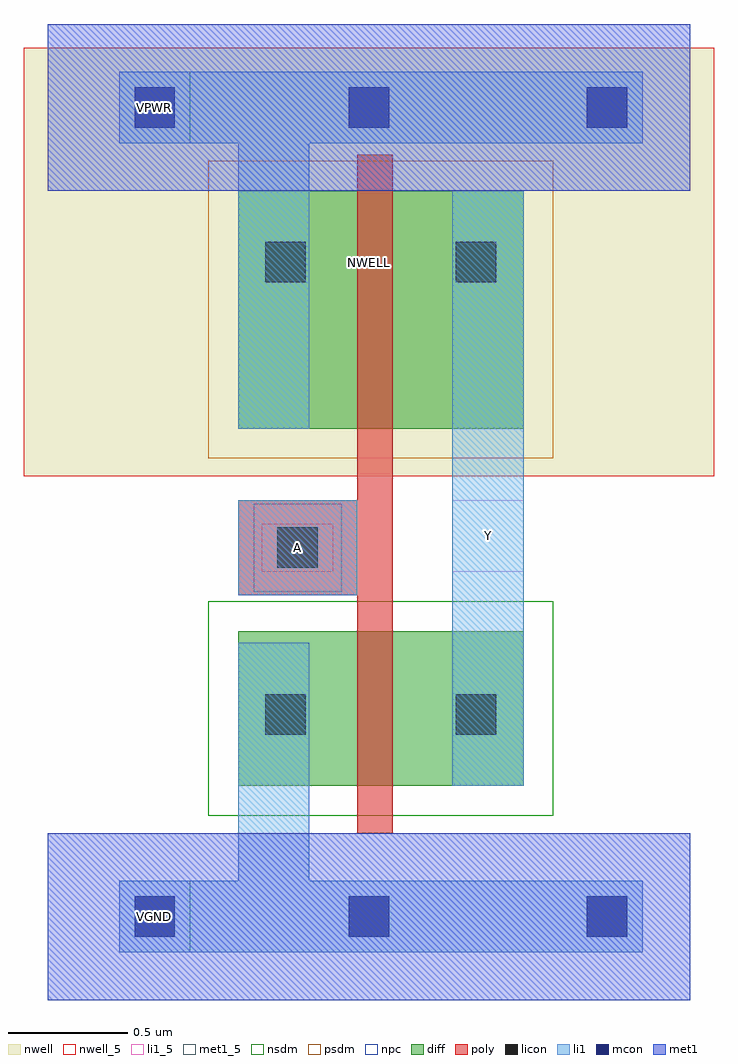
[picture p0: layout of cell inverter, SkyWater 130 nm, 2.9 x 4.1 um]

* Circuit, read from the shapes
.subckt inverter A NWELL VGND VPWR Y
XM1 Y A VGND VSUBS sky130_fd_pr__nfet_01v8 w=0.65 l=0.15
XM2 Y A VPWR NWELL sky130_fd_pr__pfet_01v8 w=1 l=0.15
.ends

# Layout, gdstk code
import gdstk
lib = gdstk.Library(unit=1e-6, precision=1e-09)
def R(c, l, rs):  # rectangles x0, y0, x1, y1
    for r in rs: c.add(gdstk.rectangle(r[:2], r[2:], *l))
nwell_5 = (64, 5)
nwell = (64, 20)
diff = (65, 20)
poly = (66, 20)
licon = (66, 44)
li1_5 = (67, 5)
li1 = (67, 20)
mcon = (67, 44)
met1_5 = (68, 5)
met1 = (68, 20)
nsdm = (93, 44)
psdm = (94, 20)
npc = (95, 20)

inverter = lib.new_cell('inverter')
R(inverter, nwell_5, [(-1.4,-0.2,1.5,1.6)])
R(inverter, nwell, [(-1.4,-0.2,1.5,1.6)])
R(inverter, diff, [(-0.5,-1.5,0.7,-0.85), (-0.5,0,0.7,1)])
R(inverter, poly, [(0,-1.7,0.15,-0.7), (-0.5,-0.7,0.15,-0.3), (0,-0.3,0.15,1.15)])
R(inverter, licon, [(-0.385,-1.285,-0.215,-1.115), (0.415,-1.285,0.585,-1.115), (-0.335,-0.585,-0.165,-0.415), (-0.385,0.615,-0.215,0.785), (0.415,0.615,0.585,0.785)])
R(inverter, li1_5, [(-0.4,-0.6,-0.1,-0.4), (0.4,-0.6,0.7,-0.3)])
R(inverter, li1, [(-1,-2.2,1.2,-1.9), (-0.5,-1.9,-0.2,-0.9), (0.4,-1.5,0.7,1), (-0.5,-0.7,0,-0.3), (-0.5,0,-0.2,1.2), (-1,1.2,1.2,1.5)])
R(inverter, mcon, [(-0.935,-2.135,-0.765,-1.965), (-0.035,-2.135,0.135,-1.965), (0.965,-2.135,1.135,-1.965), (-0.935,1.265,-0.765,1.435), (-0.035,1.265,0.135,1.435), (0.965,1.265,1.135,1.435)])
R(inverter, met1_5, [(-1,-2.2,-0.7,-1.9), (-1,1.2,-0.7,1.5)])
R(inverter, met1, [(-1.3,-2.4,1.4,-1.7), (-1.3,1,1.4,1.7)])
R(inverter, nsdm, [(-0.625,-1.625,0.825,-0.725)])
R(inverter, psdm, [(-0.625,-0.125,0.825,1.125)])
R(inverter, npc, [(-0.435,-0.685,-0.065,-0.315)])
inverter.add(gdstk.Label('VPWR', (-0.85,1.35), layer=68, texttype=5))
inverter.add(gdstk.Label('NWELL', (0.05,0.7), layer=64, texttype=5))
inverter.add(gdstk.Label('A', (-0.25,-0.5), layer=67, texttype=5))
inverter.add(gdstk.Label('Y', (0.55,-0.45), layer=67, texttype=5))
inverter.add(gdstk.Label('VGND', (-0.85,-2.05), layer=68, texttype=5))

lib.write_gds('inverter.gds')
